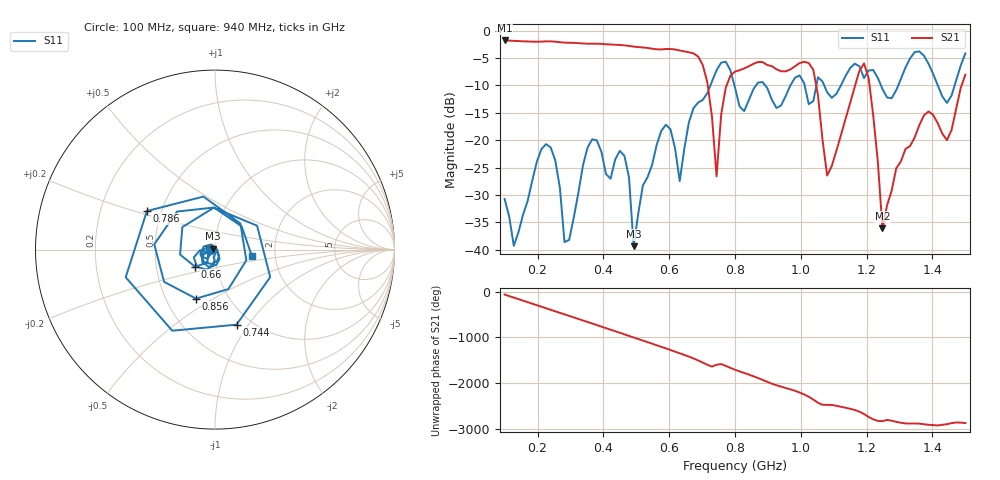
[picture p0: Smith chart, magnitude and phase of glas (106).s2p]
! NanoVNA-App
! Date: 2025-09-26 09:38:55
! Start: 100MHz Stop: 1,5GHz Points: 101
! S-Parameter data: F S11 S21 S12 S22
# Hz S RI R 50
!  Frequency  S11_Real  S11_Imag  S21_Real  S21_Imag  S12_Real  S12_Imag  S22_Real  S22_Imag
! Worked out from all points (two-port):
!   101 points, 100 MHz to 1.5 GHz, reference 50 ohm
!   highest |S21| = -1.79 dB at 100 MHz (marker M1); lowest = -36.1 dB at 1.248 GHz (marker M2)
!   |S21| within 3 dB of the highest: start of sweep to 688.5 MHz
!   lowest |S11| = -39.3 dB at 492 MHz (marker M3), VSWR 1.02, Z = 49 + j0.447 ohm
!   |S11| at or under -10 dB: start of sweep to 725.2 MHz; 798.3 MHz to 863.9 MHz (65.59 MHz wide, 7.89 % of centre); 892 MHz to 968.2 MHz (76.23 MHz wide, 8.2 % of centre)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
!   S12 and S22 are empty: the file has one direction only
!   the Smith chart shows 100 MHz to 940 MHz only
!   S11 on the Smith chart (normalised r, x): 100 MHz: 0.94, -0.01; 660 MHz: 0.79, -0.15; 744 MHz: 0.85, -0.88; 786 MHz: 0.42, +0.22; 856 MHz: 0.70, -0.42; 940 MHz: 1.51, -0.11
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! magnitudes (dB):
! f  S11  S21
! 100 MHz  -30.7  -1.8
! 128 MHz  -39.3  -1.9
! 226 MHz  -20.7  -2.0
! 282 MHz  -38.6  -2.2
! 338 MHz  -24.6  -2.3
! 464 MHz  -22.8  -2.7
! 492 MHz  -39.3  -2.9
! 576 MHz  -18.3  -3.4
! 632 MHz  -27.5  -3.6
! 660 MHz  -16.7  -3.9
! 716 MHz  -11.4  -9.5
! 744 MHz  -7.2  -26.6
! 786 MHz  -7.2  -8.2
! 800 MHz  -10.4  -7.5
! 856 MHz  -10.7  -6.1
! 940 MHz  -13.6  -7.4
! 1.038 GHz  -12.9  -7.2
! 1.08 GHz  -11.2  -26.4
! 1.192 GHz  -8.7  -6.0
! 1.248 GHz  -10.6  -36.1
! 1.276 GHz  -12.3  -29.2
! 1.5 GHz  -4.1  -8.0
